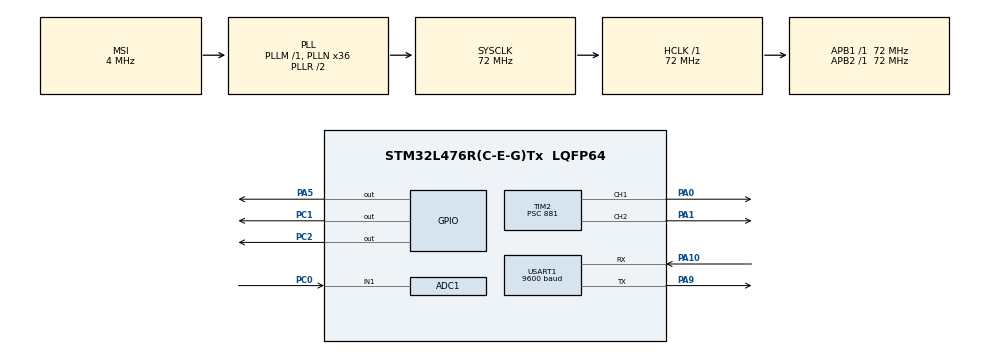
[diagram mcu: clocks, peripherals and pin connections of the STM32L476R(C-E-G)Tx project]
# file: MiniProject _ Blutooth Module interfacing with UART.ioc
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ADC1.NbrOfConversionFlag=1
ADC1.Resolution=ADC_RESOLUTION_10B
ADC1.master=1
Mcu.Family=STM32L4
Mcu.Name=STM32L476R(C-E-G)Tx
Mcu.Package=LQFP64
NVIC.PriorityGroup=NVIC_PRIORITYGROUP_4
NVIC.USART1_IRQn=true\:0\:0\:false\:false\:true\:true\:true\:true
PA0.Signal=S_TIM2_CH1
PA1.Signal=S_TIM2_CH2
PA10.Mode=Asynchronous
PA10.Signal=USART1_RX
PA5.Signal=GPIO_Output
PA9.Mode=Asynchronous
PA9.Signal=USART1_TX
PC0.Signal=ADCx_IN1
PC1.Signal=GPIO_Output
PC2.Signal=GPIO_Output
ProjectManager.HeapSize=0x200
ProjectManager.StackSize=0x400
ProjectManager.TargetToolchain=STM32CubeIDE
RCC.ADCFreq_Value=32000000
RCC.AHBFreq_Value=72000000
RCC.APB1Freq_Value=72000000
RCC.APB1TimFreq_Value=72000000
RCC.APB2Freq_Value=72000000
RCC.APB2TimFreq_Value=72000000
RCC.CortexFreq_Value=72000000
RCC.HCLKFreq_Value=72000000
RCC.HSE_VALUE=8000000
RCC.HSI_VALUE=16000000
RCC.LSE_VALUE=32768
RCC.MSI_VALUE=4000000
RCC.PLLN=36
RCC.PLLSAI1N=16
RCC.SYSCLKFreq_VALUE=72000000
RCC.SYSCLKSource=RCC_SYSCLKSOURCE_PLLCLK
RCC.USBFreq_Value=32000000
RCC.VCOOutputFreq_Value=144000000
SH.ADCx_IN1.0=ADC1_IN1,IN1-Single-Ended
SH.S_TIM2_CH1.0=TIM2_CH1,PWM Generation1 CH1
SH.S_TIM2_CH2.0=TIM2_CH2,PWM Generation2 CH2
TIM2.Channel-PWM\ Generation1\ CH1=TIM_CHANNEL_1
TIM2.Channel-PWM\ Generation2\ CH2=TIM_CHANNEL_2
TIM2.Period=225
TIM2.Prescaler=881
TIM2.Pulse-PWM\ Generation1\ CH1=0
USART1.BaudRate=9600
USART1.VirtualMode-Asynchronous=VM_ASYNC
VP_TIM2_VS_ClockSourceINT.Mode=Internal
board=custom

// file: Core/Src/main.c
/* USER CODE BEGIN Header */
/**
  ******************************************************************************
  * @file           : main.c
  * @brief          : Main program body
  ******************************************************************************
  * @attention
  *
  * Copyright (c) 2023 STMicroelectronics.
  * All rights reserved.
  *
  * This software is licensed under terms that can be found in the LICENSE file
  * in the root directory of this software component.
  * If no LICENSE file comes with this software, it is provided AS-IS.
  *
  ******************************************************************************
  */
/* USER CODE END Header */
#include "main.h"

/* USER CODE BEGIN PD */

#define Buffer_len 1
#define LED_Number 3
#define ARR_value 65536

/* USER CODE END PD */

ADC_HandleTypeDef hadc1;

TIM_HandleTypeDef htim2;

UART_HandleTypeDef huart1;

/* USER CODE BEGIN PV */

uint8_t RX_BUFFER[Buffer_len]; // Tableau pour stocker les commandes Bluetooth.
uint8_t LEDs[LED_Number]; // Tableau pour réprésenter les 3 Led.
uint16_t ADC_Value;   // Stockage de la valeur convertie du potentiometre.
uint32_t CC_value; // CCR1 register is a 32bit register so that's why we are using a uint32_t variable.
float duty_cycle = 0;

/* USER CODE END PV */

void SystemClock_Config(void);
static void MX_GPIO_Init(void);
static void MX_ADC1_Init(void);
static void MX_TIM2_Init(void);
static void MX_USART1_UART_Init(void);
/* USER CODE BEGIN PFP */
void HAL_UART_RxCpltCallback(UART_HandleTypeDef *); // Déclaration de la fonction callback de l'UART
uint32_t MAP(uint32_t, uint32_t, uint32_t, uint32_t, uint32_t); // Déclaration de la fonction MAP nécessaire à l'adaptation entre la résolution
//de l'ADC et la résolution de PWM.

/* USER CODE END PFP */

int main(void)
{

  /* MCU Configuration--------------------------------------------------------*/

  /* Reset of all peripherals, Initializes the Flash interface and the Systick. */
  HAL_Init();

  /* Configure the system clock */
  SystemClock_Config();

  /* Initialize all configured peripherals */
  MX_GPIO_Init();
  MX_ADC1_Init();
  MX_TIM2_Init();
  MX_USART1_UART_Init();
  /* USER CODE BEGIN 2 */

  HAL_ADCEx_Calibration_Start(&hadc1,ADC_SINGLE_ENDED);// Calibrate The ADC On Power-Up For Better Accuracy
  HAL_UART_Receive_IT(&huart1, RX_BUFFER, Buffer_len); // START THE UART AT THE FIRST INTERRUPTION
  HAL_TIM_PWM_Start(&htim2, TIM_CHANNEL_1); // START THE TIMER2 IN THE PWM MODE
  /* USER CODE END 2 */

  /* Infinite loop */
  while (1)
  {

    /* USER CODE BEGIN 3 */
	// Start ADC Conversion
	HAL_ADC_Start(&hadc1);
	// Poll ADC1 Perihperal & TimeOut = 1mSec
    HAL_ADC_PollForConversion(&hadc1, 5);
	// Read The ADC Conversion Result & Map It To PWM DutyCycle
    ADC_Value = HAL_ADC_GetValue(&hadc1);
    CC_value = MAP(ADC_Value,0,4096,0,65536);
	TIM2->CCR1 = CC_value;
    duty_cycle = (CC_value / ARR_value)*100;
	HAL_Delay(5);
  }

  /* USER CODE END 3 */
}

void SystemClock_Config(void)
{
  RCC_OscInitTypeDef RCC_OscInitStruct = {0};
  RCC_ClkInitTypeDef RCC_ClkInitStruct = {0};

  /** Configure the main internal regulator output voltage
  */
  if (HAL_PWREx_ControlVoltageScaling(PWR_REGULATOR_VOLTAGE_SCALE1) != HAL_OK)
  {
    Error_Handler();
  }

  /** Initializes the RCC Oscillators according to the specified parameters
  * in the RCC_OscInitTypeDef structure.
  */
  RCC_OscInitStruct.OscillatorType = RCC_OSCILLATORTYPE_MSI;
  RCC_OscInitStruct.MSIState = RCC_MSI_ON;
  RCC_OscInitStruct.MSICalibrationValue = 0;
  RCC_OscInitStruct.MSIClockRange = RCC_MSIRANGE_6;
  RCC_OscInitStruct.PLL.PLLState = RCC_PLL_ON;
  RCC_OscInitStruct.PLL.PLLSource = RCC_PLLSOURCE_MSI;
  RCC_OscInitStruct.PLL.PLLM = 1;
  RCC_OscInitStruct.PLL.PLLN = 36;
  RCC_OscInitStruct.PLL.PLLP = RCC_PLLP_DIV7;
  RCC_OscInitStruct.PLL.PLLQ = RCC_PLLQ_DIV2;
  RCC_OscInitStruct.PLL.PLLR = RCC_PLLR_DIV2;
  if (HAL_RCC_OscConfig(&RCC_OscInitStruct) != HAL_OK)
  {
    Error_Handler();
  }

  /** Initializes the CPU, AHB and APB buses clocks
  */
  RCC_ClkInitStruct.ClockType = RCC_CLOCKTYPE_HCLK|RCC_CLOCKTYPE_SYSCLK
                              |RCC_CLOCKTYPE_PCLK1|RCC_CLOCKTYPE_PCLK2;
  RCC_ClkInitStruct.SYSCLKSource = RCC_SYSCLKSOURCE_PLLCLK;
  RCC_ClkInitStruct.AHBCLKDivider = RCC_SYSCLK_DIV1;
  RCC_ClkInitStruct.APB1CLKDivider = RCC_HCLK_DIV1;
  RCC_ClkInitStruct.APB2CLKDivider = RCC_HCLK_DIV1;

  if (HAL_RCC_ClockConfig(&RCC_ClkInitStruct, FLASH_LATENCY_4) != HAL_OK)
  {
    Error_Handler();
  }
}

static void MX_ADC1_Init(void)
{

  ADC_MultiModeTypeDef multimode = {0};

  /** Common config
  */
  hadc1.Instance = ADC1;
  hadc1.Init.ClockPrescaler = ADC_CLOCK_ASYNC_DIV1;
  hadc1.Init.Resolution = ADC_RESOLUTION_10B;
  hadc1.Init.DataAlign = ADC_DATAALIGN_RIGHT;
  hadc1.Init.ScanConvMode = ADC_SCAN_DISABLE;
  hadc1.Init.EOCSelection = ADC_EOC_SINGLE_CONV;
  hadc1.Init.LowPowerAutoWait = DISABLE;
  hadc1.Init.ContinuousConvMode = DISABLE;
  hadc1.Init.NbrOfConversion = 1;
  hadc1.Init.DiscontinuousConvMode = DISABLE;
  hadc1.Init.ExternalTrigConv = ADC_SOFTWARE_START;
  hadc1.Init.ExternalTrigConvEdge = ADC_EXTERNALTRIGCONVEDGE_NONE;
  hadc1.Init.DMAContinuousRequests = DISABLE;
  hadc1.Init.Overrun = ADC_OVR_DATA_PRESERVED;
  hadc1.Init.OversamplingMode = DISABLE;
  if (HAL_ADC_Init(&hadc1) != HAL_OK)
  {
    Error_Handler();
  }

  /** Configure the ADC multi-mode
  */
  multimode.Mode = ADC_MODE_INDEPENDENT;
  if (HAL_ADCEx_MultiModeConfigChannel(&hadc1, &multimode) != HAL_OK)
  {
    Error_Handler();
  }

}

static void MX_TIM2_Init(void)
{

  TIM_ClockConfigTypeDef sClockSourceConfig = {0};
  TIM_MasterConfigTypeDef sMasterConfig = {0};
  TIM_OC_InitTypeDef sConfigOC = {0};

  htim2.Instance = TIM2;
  htim2.Init.Prescaler = 881;
  htim2.Init.CounterMode = TIM_COUNTERMODE_UP;
  htim2.Init.Period = 225;
  htim2.Init.ClockDivision = TIM_CLOCKDIVISION_DIV1;
  htim2.Init.AutoReloadPreload = TIM_AUTORELOAD_PRELOAD_DISABLE;
  if (HAL_TIM_Base_Init(&htim2) != HAL_OK)
  {
    Error_Handler();
  }
  sClockSourceConfig.ClockSource = TIM_CLOCKSOURCE_INTERNAL;
  if (HAL_TIM_ConfigClockSource(&htim2, &sClockSourceConfig) != HAL_OK)
  {
    Error_Handler();
  }
  if (HAL_TIM_PWM_Init(&htim2) != HAL_OK)
  {
    Error_Handler();
  }
  sMasterConfig.MasterOutputTrigger = TIM_TRGO_RESET;
  sMasterConfig.MasterSlaveMode = TIM_MASTERSLAVEMODE_DISABLE;
  if (HAL_TIMEx_MasterConfigSynchronization(&htim2, &sMasterConfig) != HAL_OK)
  {
    Error_Handler();
  }
  sConfigOC.OCMode = TIM_OCMODE_PWM1;
  sConfigOC.Pulse = 0;
  sConfigOC.OCPolarity = TIM_OCPOLARITY_HIGH;
  sConfigOC.OCFastMode = TIM_OCFAST_DISABLE;
  if (HAL_TIM_PWM_ConfigChannel(&htim2, &sConfigOC, TIM_CHANNEL_1) != HAL_OK)
  {
    Error_Handler();
  }
  if (HAL_TIM_PWM_ConfigChannel(&htim2, &sConfigOC, TIM_CHANNEL_2) != HAL_OK)
  {
    Error_Handler();
  }
  HAL_TIM_MspPostInit(&htim2);

}

static void MX_USART1_UART_Init(void)
{

  huart1.Instance = USART1;
  huart1.Init.BaudRate = 9600;
  huart1.Init.WordLength = UART_WORDLENGTH_8B;
  huart1.Init.StopBits = UART_STOPBITS_1;
  huart1.Init.Parity = UART_PARITY_NONE;
  huart1.Init.Mode = UART_MODE_TX_RX;
  huart1.Init.HwFlowCtl = UART_HWCONTROL_NONE;
  huart1.Init.OverSampling = UART_OVERSAMPLING_16;
  huart1.Init.OneBitSampling = UART_ONE_BIT_SAMPLE_DISABLE;
  huart1.AdvancedInit.AdvFeatureInit = UART_ADVFEATURE_NO_INIT;
  if (HAL_UART_Init(&huart1) != HAL_OK)
  {
    Error_Handler();
  }

}

static void MX_GPIO_Init(void)
{
  GPIO_InitTypeDef GPIO_InitStruct = {0};

  /* GPIO Ports Clock Enable */
  __HAL_RCC_GPIOC_CLK_ENABLE();
  __HAL_RCC_GPIOA_CLK_ENABLE();

  /*Configure GPIO pin Output Level */
  HAL_GPIO_WritePin(GPIOC, GPIO_PIN_1|GPIO_PIN_2, GPIO_PIN_RESET);

  /*Configure GPIO pin Output Level */
  HAL_GPIO_WritePin(GPIOA, GPIO_PIN_5, GPIO_PIN_RESET);

  /*Configure GPIO pins : PC1 PC2 */
  GPIO_InitStruct.Pin = GPIO_PIN_1|GPIO_PIN_2;
  GPIO_InitStruct.Mode = GPIO_MODE_OUTPUT_PP;
  GPIO_InitStruct.Pull = GPIO_NOPULL;
  GPIO_InitStruct.Speed = GPIO_SPEED_FREQ_LOW;
  HAL_GPIO_Init(GPIOC, &GPIO_InitStruct);

  /*Configure GPIO pin : PA5 */
  GPIO_InitStruct.Pin = GPIO_PIN_5;
  GPIO_InitStruct.Mode = GPIO_MODE_OUTPUT_PP;
  GPIO_InitStruct.Pull = GPIO_NOPULL;
  GPIO_InitStruct.Speed = GPIO_SPEED_FREQ_LOW;
  HAL_GPIO_Init(GPIOA, &GPIO_InitStruct);

}

/* USER CODE BEGIN 4 */

// Callback pour la réception UART
void HAL_UART_RxCpltCallback(UART_HandleTypeDef *huart) {

	// Adjust the capture pulse every 0.1s. once it attend the maximum (timer period) reset to 100 (alpha = 0.1);

	//Check the Cplt callback function call belongs to the UART1 instance.
	if (huart == &huart1) {
    // Commande reçue, effectuez des actions en fonction de RX_BUFFER[0]

    switch (RX_BUFFER[0]){
     case '0':
        // Allumer la LED correspondante (par exemple, GPIOD12)
    	  HAL_GPIO_WritePin(GPIOA, GPIO_PIN_5, 0);
    	  HAL_GPIO_WritePin(GPIOC, GPIO_PIN_1 | GPIO_PIN_2, 0);
    	  LEDs[0]='0';LEDs[1]='0';LEDs[2]='0';
		  break;

      case '1':
          // Allumer la LED correspondante (par exemple, GPIOD12)
		  HAL_GPIO_WritePin(GPIOC, GPIO_PIN_1, 1);
		  LEDs[0]='B';
		  break;

      case '2':
          // Allumer la LED correspondante (par exemple, GPIOD13)
    	  HAL_GPIO_WritePin(GPIOC, GPIO_PIN_2, 1);
		  LEDs[1]='G';
          break;

      case '3':
        // Allumer la LED correspondante (par exemple, GPIOD13)
    	  HAL_GPIO_WritePin(GPIOA, GPIO_PIN_5, 1);
		  LEDs[2]='Y';
        break;

      case '4':
         // Allumer la LED correspondante (par exemple, GPIOD12)
     	  HAL_GPIO_WritePin(GPIOA, GPIO_PIN_5, 1);
     	  HAL_GPIO_WritePin(GPIOC, GPIO_PIN_1 | GPIO_PIN_2, 1);
     	  LEDs[0]='B';LEDs[1]='G';LEDs[2]='Y';
 		  break;
    }

    // Réactivez la réception UART pour la prochaine commande
    HAL_UART_Receive_IT(&huart1, RX_BUFFER, Buffer_len);
  }

}

//MAP function implementation:
/*@param:
 * au32_IN: La valeur reçue de l'ADC.
 * au32_INmin: La valeur minimal de l'entrée. (potentiomètre dans ce cas.) = 0
 * au32_INmax: La valeur maximal de l'entrée. (potentiomètre dans ce cas.) = 2^(12) _ 1
 * au32_OUTmin: la valeur minimal de la sortie. (Registre CCR1 du Timer2 dans ce cas.) = 0
 * au32_OUTmax: la valeur maximal de la sortie. (Registre CCR1 du Timer2 dans ce cas.) = 2^(16) [Ckeck Timer on the reference manuel to get the timer resolution]
*/

uint32_t MAP(uint32_t au32_IN, uint32_t au32_INmin, uint32_t au32_INmax, uint32_t au32_OUTmin, uint32_t au32_OUTmax)
{
    return ((((au32_IN - au32_INmin)*(au32_OUTmax - au32_OUTmin))/(au32_INmax - au32_INmin)) + au32_OUTmin);
}

/* USER CODE END 4 */

void Error_Handler(void)
{
  __disable_irq();
  while (1)
  {
  }
}
